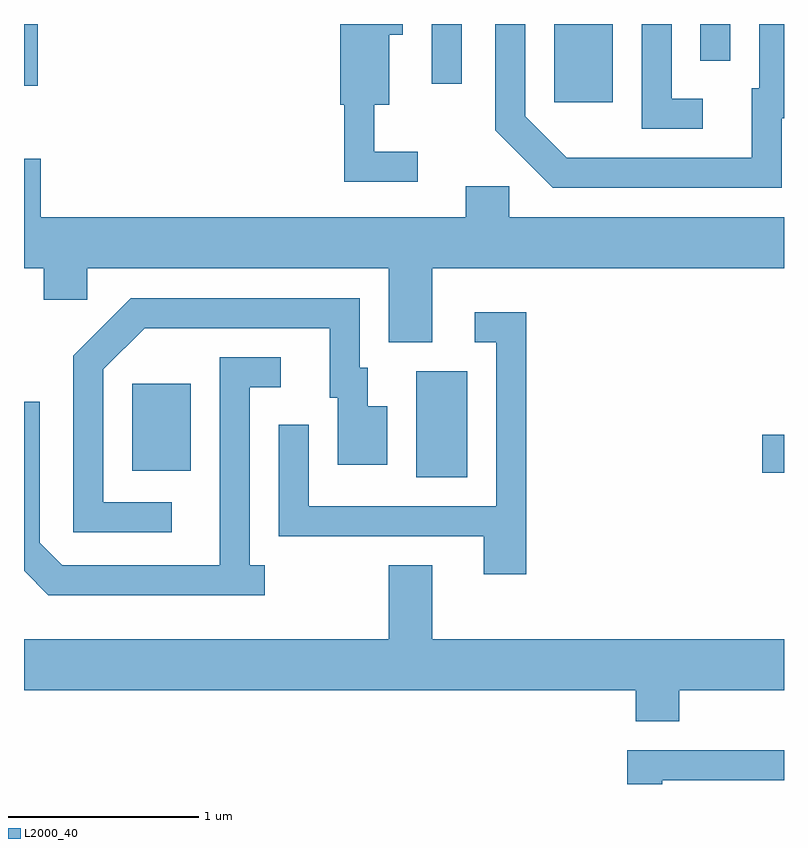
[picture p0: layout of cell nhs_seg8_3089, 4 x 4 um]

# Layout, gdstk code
import gdstk
lib = gdstk.Library(unit=1e-6, precision=1e-09)
def R(c, l, rs):  # rectangles x0, y0, x1, y1
    for r in rs: c.add(gdstk.rectangle(r[:2], r[2:], *l))
def P(c, l, *ps):  # polygons
    for p in ps: c.add(gdstk.Polygon(p, *l))
L2000_40 = (2000, 40)

nhs_seg8_3089 = lib.new_cell('nhs_seg8_3089')
R(nhs_seg8_3089, L2000_40, [(279.676,1861.956,279.944,1862.514), (281.496,1861.981,281.611,1862.179), (278.181,1861.991,278.489,1862.449), (280.401,1863.931,280.709,1864.342), (277.611,1864.016,277.684,1864.342), (279.756,1864.028,279.914,1864.342), (281.171,1864.148,281.329,1864.342)])
P(nhs_seg8_3089, L2000_40, [(279.683,1863.669),(279.454,1863.669),(279.454,1863.916),(279.534,1863.916),(279.534,1864.286),(279.604,1864.286),(279.604,1864.342),(279.276,1864.342),(279.276,1863.916),(279.296,1863.916),(279.296,1863.511),(279.683,1863.511)],
  [(281.599,1863.846),(281.611,1863.846),(281.611,1864.342),(281.481,1864.342),(281.481,1864.004),(281.441,1864.004),(281.441,1863.639),(280.467,1863.639),(280.249,1863.857),(280.249,1864.342),(280.091,1864.342),(280.091,1863.784),(280.394,1863.481),(281.599,1863.481)],
  [(281.183,1863.949),(281.019,1863.949),(281.019,1864.342),(280.861,1864.342),(280.861,1863.791),(281.183,1863.791)],
  [(279.759,1863.056),(281.611,1863.056),(281.611,1863.324),(280.164,1863.324),(280.164,1863.489),(279.936,1863.489),(279.936,1863.324),(277.699,1863.324),(277.699,1863.634),(277.611,1863.634),(277.611,1863.056),(277.716,1863.056),(277.716,1862.891),(277.944,1862.891),(277.944,1863.056),(279.531,1863.056),(279.531,1862.666),(279.759,1862.666)],
  [(278.388,1861.824),(278.029,1861.824),(278.029,1862.524),(278.247,1862.741),(279.221,1862.741),(279.221,1862.376),(279.261,1862.376),(279.261,1862.021),(279.524,1862.021),(279.524,1862.329),(279.419,1862.329),(279.419,1862.534),(279.379,1862.534),(279.379,1862.899),(278.174,1862.899),(277.871,1862.597),(277.871,1861.666),(278.388,1861.666)],
  [(280.254,1862.824),(279.983,1862.824),(279.983,1862.666),(280.096,1862.666),(280.096,1861.804),(279.109,1861.804),(279.109,1862.233),(278.951,1862.233),(278.951,1861.646),(280.031,1861.646),(280.031,1861.446),(280.254,1861.446)],
  [(278.878,1861.494),(278.799,1861.494),(278.799,1862.431),(278.963,1862.431),(278.963,1862.589),(278.641,1862.589),(278.641,1861.494),(277.812,1861.494),(277.694,1861.612),(277.694,1862.353),(277.611,1862.353),(277.611,1861.464),(277.739,1861.336),(278.878,1861.336)],
  [(281.059,1860.836),(281.611,1860.836),(281.611,1861.104),(279.759,1861.104),(279.759,1861.494),(279.531,1861.494),(279.531,1861.104),(277.611,1861.104),(277.611,1860.836),(280.831,1860.836),(280.831,1860.671),(281.059,1860.671)],
  [(280.969,1860.361),(281.611,1860.361),(281.611,1860.519),(280.786,1860.519),(280.786,1860.342),(280.969,1860.342)])

lib.write_gds('nhs_seg8_3089.gds')
